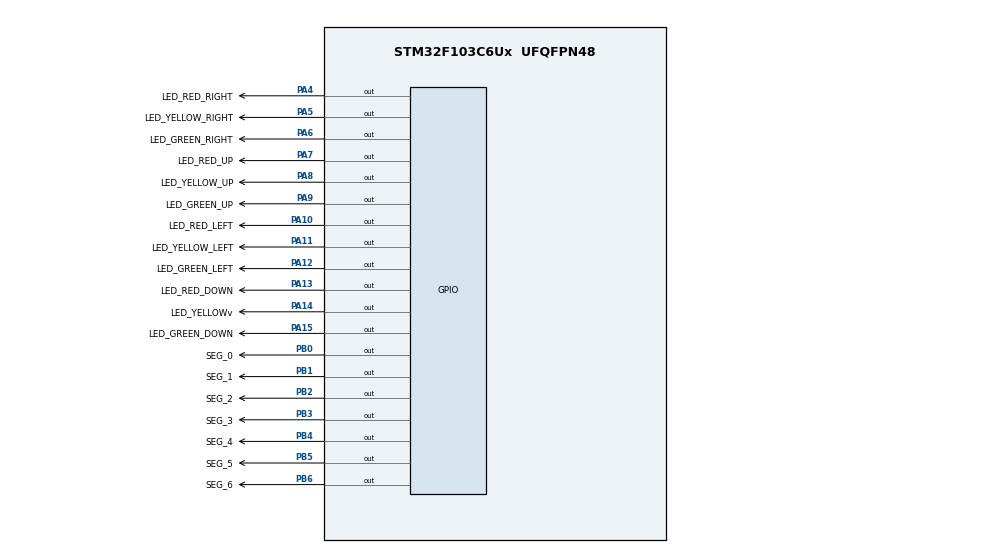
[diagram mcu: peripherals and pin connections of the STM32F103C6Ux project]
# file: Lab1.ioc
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Mcu.Family=STM32F1
Mcu.Name=STM32F103C6Ux
Mcu.Package=UFQFPN48
NVIC.PriorityGroup=NVIC_PRIORITYGROUP_4
PA10.GPIO_Label=LED_RED_LEFT
PA10.Signal=GPIO_Output
PA11.GPIO_Label=LED_YELLOW_LEFT
PA11.Signal=GPIO_Output
PA12.GPIO_Label=LED_GREEN_LEFT
PA12.Signal=GPIO_Output
PA13.GPIO_Label=LED_RED_DOWN
PA13.Signal=GPIO_Output
PA14.GPIO_Label=LED_YELLOWv
PA14.Signal=GPIO_Output
PA15.GPIO_Label=LED_GREEN_DOWN
PA15.Signal=GPIO_Output
PA4.GPIO_Label=LED_RED_RIGHT
PA4.Signal=GPIO_Output
PA5.GPIO_Label=LED_YELLOW_RIGHT
PA5.Signal=GPIO_Output
PA6.GPIO_Label=LED_GREEN_RIGHT
PA6.Signal=GPIO_Output
PA7.GPIO_Label=LED_RED_UP
PA7.Signal=GPIO_Output
PA8.GPIO_Label=LED_YELLOW_UP
PA8.Signal=GPIO_Output
PA9.GPIO_Label=LED_GREEN_UP
PA9.Signal=GPIO_Output
PB0.GPIO_Label=SEG_0
PB0.Signal=GPIO_Output
PB1.GPIO_Label=SEG_1
PB1.Signal=GPIO_Output
PB2.GPIO_Label=SEG_2
PB2.Signal=GPIO_Output
PB3.GPIO_Label=SEG_3
PB3.Signal=GPIO_Output
PB4.GPIO_Label=SEG_4
PB4.Signal=GPIO_Output
PB5.GPIO_Label=SEG_5
PB5.Signal=GPIO_Output
PB6.GPIO_Label=SEG_6
PB6.Signal=GPIO_Output
ProjectManager.HeapSize=0x200
ProjectManager.StackSize=0x400
ProjectManager.TargetToolchain=STM32CubeIDE
RCC.APB1Freq_Value=8000000
RCC.APB2Freq_Value=8000000
VP_SYS_VS_ND.Mode=No_Debug
board=custom

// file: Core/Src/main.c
/* USER CODE BEGIN Header */
/**
  ******************************************************************************
  * @file           : main.c
  * @brief          : Main program body
  ******************************************************************************
  * @attention
  *
  * <h2><center>&copy; Copyright (c) 2023 STMicroelectronics.
  * All rights reserved.</center></h2>
  *
  * This software component is licensed by ST under BSD 3-Clause license,
  * the "License"; You may not use this file except in compliance with the
  * License. You may obtain a copy of the License at:
  *                        opensource.org/licenses/BSD-3-Clause
  *
  ******************************************************************************
  */
/* USER CODE END Header */
#include "main.h"
//ex6

void SystemClock_Config(void);
static void MX_GPIO_Init(void);

int main(void)
{
  /* USER CODE BEGIN 1 */
	void clearAllClock(){
		HAL_GPIO_WritePin ( GPIOA, GPIO_PIN_4 | GPIO_PIN_5 | GPIO_PIN_6 |
									GPIO_PIN_7 | GPIO_PIN_8 | GPIO_PIN_9 |
									GPIO_PIN_10 | GPIO_PIN_11 | GPIO_PIN_12 |
									GPIO_PIN_13 | GPIO_PIN_14 | GPIO_PIN_15 , GPIO_PIN_SET );
	}
	void setNumberOnClock(int num){
		switch (num){
		case 0:
			HAL_GPIO_WritePin ( GPIOA, GPIO_PIN_8, GPIO_PIN_RESET);
			break;

		case 1:
			HAL_GPIO_WritePin ( GPIOA, GPIO_PIN_7, GPIO_PIN_RESET);
			break;

		case 2:
			HAL_GPIO_WritePin ( GPIOA, GPIO_PIN_6, GPIO_PIN_RESET);
			break;

		case 3:
			HAL_GPIO_WritePin ( GPIOA, GPIO_PIN_5, GPIO_PIN_RESET);
			break;

		case 4:
			HAL_GPIO_WritePin ( GPIOA, GPIO_PIN_4, GPIO_PIN_RESET);
			break;

		case 5:
			HAL_GPIO_WritePin ( GPIOA, GPIO_PIN_15, GPIO_PIN_RESET);
			break;

		case 6:
			HAL_GPIO_WritePin ( GPIOA, GPIO_PIN_14, GPIO_PIN_RESET);
			break;

		case 7:
			HAL_GPIO_WritePin ( GPIOA, GPIO_PIN_13, GPIO_PIN_RESET);
			break;

		case 8:
			HAL_GPIO_WritePin ( GPIOA, GPIO_PIN_12, GPIO_PIN_RESET);
			break;

		case 9:
			HAL_GPIO_WritePin ( GPIOA, GPIO_PIN_11, GPIO_PIN_RESET);
			break;

		case 10:
			HAL_GPIO_WritePin ( GPIOA, GPIO_PIN_10, GPIO_PIN_RESET);
			break;

		case 11:
			HAL_GPIO_WritePin ( GPIOA, GPIO_PIN_9, GPIO_PIN_RESET);
			break;
		}
	}

	void clearNumberOnClock(int num){
			switch (num){
			case 0:
				HAL_GPIO_WritePin ( GPIOA, GPIO_PIN_8, GPIO_PIN_SET);
				break;

			case 1:
				HAL_GPIO_WritePin ( GPIOA, GPIO_PIN_7, GPIO_PIN_SET);
				break;

			case 2:
				HAL_GPIO_WritePin ( GPIOA, GPIO_PIN_6, GPIO_PIN_SET);
				break;

			case 3:
				HAL_GPIO_WritePin ( GPIOA, GPIO_PIN_5, GPIO_PIN_SET);
				break;

			case 4:
				HAL_GPIO_WritePin ( GPIOA, GPIO_PIN_4, GPIO_PIN_SET);
				break;

			case 5:
				HAL_GPIO_WritePin ( GPIOA, GPIO_PIN_15, GPIO_PIN_SET);
				break;

			case 6:
				HAL_GPIO_WritePin ( GPIOA, GPIO_PIN_14, GPIO_PIN_SET);
				break;

			case 7:
				HAL_GPIO_WritePin ( GPIOA, GPIO_PIN_13, GPIO_PIN_SET);
				break;

			case 8:
				HAL_GPIO_WritePin ( GPIOA, GPIO_PIN_12, GPIO_PIN_SET);
				break;

			case 9:
				HAL_GPIO_WritePin ( GPIOA, GPIO_PIN_11, GPIO_PIN_SET);
				break;

			case 10:
				HAL_GPIO_WritePin ( GPIOA, GPIO_PIN_10, GPIO_PIN_SET);
				break;

			case 11:
				HAL_GPIO_WritePin ( GPIOA, GPIO_PIN_9, GPIO_PIN_SET);
				break;
			}
		}
  /* USER CODE END 1 */

  /* MCU Configuration--------------------------------------------------------*/

  /* Reset of all peripherals, Initializes the Flash interface and the Systick. */
  HAL_Init();
// ex6

  /* Configure the system clock */
  SystemClock_Config();

  /* Initialize all configured peripherals */
  MX_GPIO_Init();

  /* Infinite loop */
  /* USER CODE BEGIN WHILE */
  clearAllClock();
  setNumberOnClock(0);
  int sec = 0, min = 0, hour = 0;
  int displaySEC = 0, displayMIN = 0;

  while (1)
  {
	  if(sec % 5 == 0){
		  if(sec == 60){
			  sec = 0;
			  min++;
		  }
		  clearNumberOnClock(displaySEC);
		  displaySEC = sec / 5;
	  }
	  if(min % 5 == 0){
		  if(min == 60){
			  min = 0;
			  hour++;
		  }
		  clearNumberOnClock(displayMIN);
		  displayMIN = min / 5;
	  }
	  if(hour == 12) hour = 0;

	  setNumberOnClock(displaySEC);
	  setNumberOnClock(displayMIN);
	  setNumberOnClock(hour);

	  sec++;
	  HAL_Delay(100);
//	  clearAllClock();

    /* USER CODE END WHILE */

  }
}

void SystemClock_Config(void)
{
  RCC_OscInitTypeDef RCC_OscInitStruct = {0};
  RCC_ClkInitTypeDef RCC_ClkInitStruct = {0};

  /** Initializes the RCC Oscillators according to the specified parameters
  * in the RCC_OscInitTypeDef structure.
  */
  RCC_OscInitStruct.OscillatorType = RCC_OSCILLATORTYPE_HSI;
  RCC_OscInitStruct.HSIState = RCC_HSI_ON;
  RCC_OscInitStruct.HSICalibrationValue = RCC_HSICALIBRATION_DEFAULT;
  RCC_OscInitStruct.PLL.PLLState = RCC_PLL_NONE;
  if (HAL_RCC_OscConfig(&RCC_OscInitStruct) != HAL_OK)
  {
    Error_Handler();
  }
  /** Initializes the CPU, AHB and APB buses clocks
  */
  RCC_ClkInitStruct.ClockType = RCC_CLOCKTYPE_HCLK|RCC_CLOCKTYPE_SYSCLK
                              |RCC_CLOCKTYPE_PCLK1|RCC_CLOCKTYPE_PCLK2;
  RCC_ClkInitStruct.SYSCLKSource = RCC_SYSCLKSOURCE_HSI;
  RCC_ClkInitStruct.AHBCLKDivider = RCC_SYSCLK_DIV1;
  RCC_ClkInitStruct.APB1CLKDivider = RCC_HCLK_DIV1;
  RCC_ClkInitStruct.APB2CLKDivider = RCC_HCLK_DIV1;

  if (HAL_RCC_ClockConfig(&RCC_ClkInitStruct, FLASH_LATENCY_0) != HAL_OK)
  {
    Error_Handler();
  }
}

static void MX_GPIO_Init(void)
{
  GPIO_InitTypeDef GPIO_InitStruct = {0};

  /* GPIO Ports Clock Enable */
  __HAL_RCC_GPIOA_CLK_ENABLE();
  __HAL_RCC_GPIOB_CLK_ENABLE();

  /*Configure GPIO pin Output Level */
  HAL_GPIO_WritePin(GPIOA, LED_RED_RIGHT_Pin|LED_YELLOW_RIGHT_Pin|LED_GREEN_RIGHT_Pin|LED_RED_UP_Pin
                          |LED_YELLOW_UP_Pin|LED_GREEN_UP_Pin|LED_RED_LEFT_Pin|LED_YELLOW_LEFT_Pin
                          |LED_GREEN_LEFT_Pin|LED_RED_DOWN_Pin|LED_YELLOWv_Pin|LED_GREEN_DOWN_Pin, GPIO_PIN_RESET);

  /*Configure GPIO pin Output Level */
  HAL_GPIO_WritePin(GPIOB, SEG_0_Pin|SEG_1_Pin|SEG_2_Pin|SEG_3_Pin
                          |SEG_4_Pin|SEG_5_Pin|SEG_6_Pin, GPIO_PIN_RESET);

  /*Configure GPIO pins : LED_RED_RIGHT_Pin LED_YELLOW_RIGHT_Pin LED_GREEN_RIGHT_Pin LED_RED_UP_Pin
                           LED_YELLOW_UP_Pin LED_GREEN_UP_Pin LED_RED_LEFT_Pin LED_YELLOW_LEFT_Pin
                           LED_GREEN_LEFT_Pin LED_RED_DOWN_Pin LED_YELLOWv_Pin LED_GREEN_DOWN_Pin */
  GPIO_InitStruct.Pin = LED_RED_RIGHT_Pin|LED_YELLOW_RIGHT_Pin|LED_GREEN_RIGHT_Pin|LED_RED_UP_Pin
                          |LED_YELLOW_UP_Pin|LED_GREEN_UP_Pin|LED_RED_LEFT_Pin|LED_YELLOW_LEFT_Pin
                          |LED_GREEN_LEFT_Pin|LED_RED_DOWN_Pin|LED_YELLOWv_Pin|LED_GREEN_DOWN_Pin;
  GPIO_InitStruct.Mode = GPIO_MODE_OUTPUT_PP;
  GPIO_InitStruct.Pull = GPIO_NOPULL;
  GPIO_InitStruct.Speed = GPIO_SPEED_FREQ_LOW;
  HAL_GPIO_Init(GPIOA, &GPIO_InitStruct);

  /*Configure GPIO pins : SEG_0_Pin SEG_1_Pin SEG_2_Pin SEG_3_Pin
                           SEG_4_Pin SEG_5_Pin SEG_6_Pin */
  GPIO_InitStruct.Pin = SEG_0_Pin|SEG_1_Pin|SEG_2_Pin|SEG_3_Pin
                          |SEG_4_Pin|SEG_5_Pin|SEG_6_Pin;
  GPIO_InitStruct.Mode = GPIO_MODE_OUTPUT_PP;
  GPIO_InitStruct.Pull = GPIO_NOPULL;
  GPIO_InitStruct.Speed = GPIO_SPEED_FREQ_LOW;
  HAL_GPIO_Init(GPIOB, &GPIO_InitStruct);

}

void Error_Handler(void)
{
  __disable_irq();
  while (1)
  {
  }
}

/************************ (C) COPYRIGHT STMicroelectronics *****END OF FILE****/
